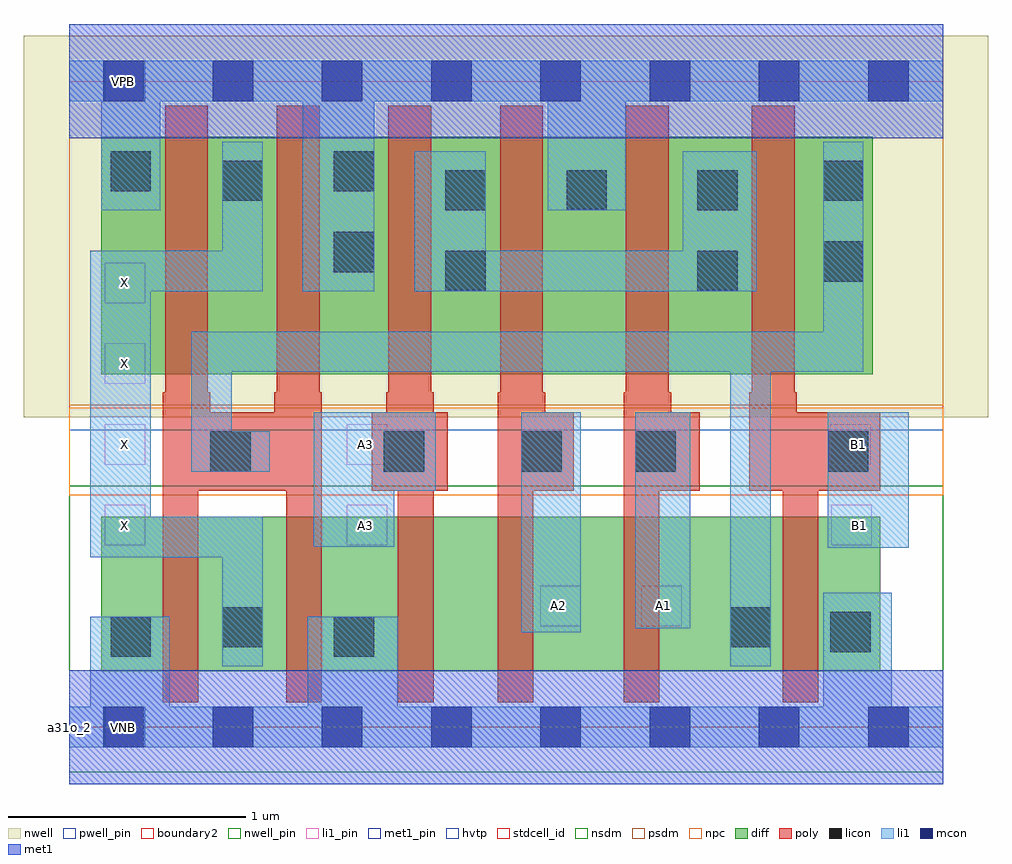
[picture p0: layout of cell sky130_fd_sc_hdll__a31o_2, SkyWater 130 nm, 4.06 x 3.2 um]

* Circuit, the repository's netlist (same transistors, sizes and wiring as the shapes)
* Copyright 2020 The SkyWater PDK Authors
*
* Licensed under the Apache License, Version 2.0 (the "License");
* you may not use this file except in compliance with the License.
* You may obtain a copy of the License at
*
*     https://www.apache.org/licenses/LICENSE-2.0
*
* Unless required by applicable law or agreed to in writing, software
* distributed under the License is distributed on an "AS IS" BASIS,
* WITHOUT WARRANTIES OR CONDITIONS OF ANY KIND, either express or implied.
* See the License for the specific language governing permissions and
* limitations under the License.
*
* SPDX-License-Identifier: Apache-2.0

.SUBCKT sky130_fd_sc_hdll__a31o_2 A1 A2 A3 B1 VGND VNB VPB VPWR X
*.PININFO A1:I A2:I A3:I B1:I VGND:I VNB:I VPB:I VPWR:I X:O
MMPA0 pndA A1 VPWR VPB sky130_fd_pr__pfet_01v8_hvt m=1 w=1.0U l=0.18U mult=1 sa=0.265
+ sb=0.265 sd=0.28 area=0.063 perim=1.14
MMPA1 pndA A2 VPWR VPB sky130_fd_pr__pfet_01v8_hvt m=1 w=1.0U l=0.18U mult=1 sa=0.265
+ sb=0.265 sd=0.28 area=0.063 perim=1.14
MMPA2 pndA A3 VPWR VPB sky130_fd_pr__pfet_01v8_hvt m=1 w=1.0U l=0.18U mult=1 sa=0.265
+ sb=0.265 sd=0.28 area=0.063 perim=1.14
MMPB0 y B1 pndA VPB sky130_fd_pr__pfet_01v8_hvt m=1 w=1.0U l=0.18U mult=1 sa=0.265
+ sb=0.265 sd=0.28 area=0.063 perim=1.14
MMIPX X y VPWR VPB sky130_fd_pr__pfet_01v8_hvt m=2 w=1.0U l=0.18U mult=1 sa=0.265
+ sb=0.265 sd=0.28 area=0.063 perim=1.14
MMNA0 y A1 sndA1 VNB sky130_fd_pr__nfet_01v8 m=1 w=0.65U l=0.15U mult=1 sa=0.265
+ sb=0.265 sd=0.28 area=0.063 perim=1.14
MMNA1 sndA1 A2 sndA2 VNB sky130_fd_pr__nfet_01v8 m=1 w=0.65U l=0.15U mult=1 sa=0.265
+ sb=0.265 sd=0.28 area=0.063 perim=1.14
MMNA2 sndA2 A3 VGND VNB sky130_fd_pr__nfet_01v8 m=1 w=0.65U l=0.15U mult=1 sa=0.265
+ sb=0.265 sd=0.28 area=0.063 perim=1.14
MMNB0 y B1 VGND VNB sky130_fd_pr__nfet_01v8 m=1 w=0.65U l=0.15U mult=1 sa=0.265
+ sb=0.265 sd=0.28 area=0.063 perim=1.14
MMINX X y VGND VNB sky130_fd_pr__nfet_01v8 m=2 w=0.65U l=0.15U mult=1 sa=0.265
+ sb=0.265 sd=0.28 area=0.063 perim=1.14
.ENDS sky130_fd_sc_hdll__a31o_2

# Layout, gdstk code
import gdstk
lib = gdstk.Library(unit=1e-6, precision=1e-09)
def R(c, l, rs):  # rectangles x0, y0, x1, y1
    for r in rs: c.add(gdstk.rectangle(r[:2], r[2:], *l))
def A(c, l, x, y, w, h, nx, ny, dx, dy):  # array of equal rectangles
    R(c, l, [(x+i*dx, y+j*dy, x+i*dx+w, y+j*dy+h) for i in range(nx) for j in range(ny)])
def P(c, l, *ps):  # polygons
    for p in ps: c.add(gdstk.Polygon(p, *l))
nwell_pin = (64, 16)
nwell = (64, 20)
diff = (65, 20)
poly = (66, 20)
licon = (66, 44)
li1_pin = (67, 16)
li1 = (67, 20)
mcon = (67, 44)
met1_pin = (68, 16)
met1 = (68, 20)
hvtp = (78, 44)
stdcell_id = (81, 4)
nsdm = (93, 44)
psdm = (94, 20)
npc = (95, 20)
pwell_pin = (122, 16)
boundary2 = (236, 0)

sky130_fd_sc_hdll__a31o_ = lib.new_cell('sky130_fd_sc_hdll__a31o_2')
R(sky130_fd_sc_hdll__a31o_, nwell_pin, [(0.15,2.635,0.32,2.805)])
R(sky130_fd_sc_hdll__a31o_, nwell, [(-0.19,1.305,3.87,2.91)])
R(sky130_fd_sc_hdll__a31o_, diff, [(0.135,0.235,3.415,0.885), (0.135,1.485,3.385,2.485)])
P(sky130_fd_sc_hdll__a31o_, poly, [(1.065,1.41),(1.055,1.41),(1.055,2.615),(0.875,2.615),(0.875,1.41),(0.865,1.41),(0.865,1.325),(0.595,1.325),(0.595,1.41),(0.585,1.41),(0.585,2.615),(0.405,2.615),(0.405,1.41),(0.395,1.41),(0.395,0.105),(0.545,0.105),(0.545,0.995),(0.915,0.995),(0.915,0.105),(1.065,0.105)],
  [(1.595,1.325),(1.535,1.325),(1.535,1.41),(1.525,1.41),(1.525,2.615),(1.345,2.615),(1.345,1.41),(1.335,1.41),(1.335,1.325),(1.275,1.325),(1.275,0.995),(1.385,0.995),(1.385,0.105),(1.535,0.105),(1.535,0.995),(1.595,0.995)],
  [(2.125,1.325),(2.005,1.325),(2.005,1.41),(1.995,1.41),(1.995,2.615),(1.815,2.615),(1.815,1.41),(1.805,1.41),(1.805,0.105),(1.955,0.105),(1.955,0.995),(2.125,0.995)],
  [(2.655,1.325),(2.535,1.325),(2.535,1.41),(2.525,1.41),(2.525,2.615),(2.345,2.615),(2.345,1.41),(2.335,1.41),(2.335,0.105),(2.485,0.105),(2.485,0.995),(2.655,0.995)],
  [(3.415,1.325),(3.065,1.325),(3.065,1.41),(3.055,1.41),(3.055,2.615),(2.875,2.615),(2.875,1.41),(2.865,1.41),(2.865,0.995),(3.005,0.995),(3.005,0.105),(3.155,0.105),(3.155,0.995),(3.415,0.995)])
R(sky130_fd_sc_hdll__a31o_, licon, [(0.175,0.295,0.345,0.465), (1.115,0.295,1.285,0.465), (3.205,0.315,3.375,0.485), (0.645,0.335,0.815,0.505), (2.785,0.335,2.955,0.505), (0.595,1.075,0.765,1.245), (1.325,1.075,1.495,1.245), (1.905,1.075,2.075,1.245), (2.385,1.075,2.555,1.245), (3.195,1.075,3.365,1.245), (1.585,1.835,1.755,2.005), (2.645,1.835,2.815,2.005), (3.175,1.875,3.345,2.045), (1.115,1.915,1.285,2.085), (1.585,2.175,1.755,2.345), (2.095,2.175,2.265,2.345), (2.645,2.175,2.815,2.345), (0.645,2.215,0.815,2.385), (3.175,2.215,3.345,2.385), (0.175,2.255,0.345,2.425), (1.115,2.255,1.285,2.425)])
A(sky130_fd_sc_hdll__a31o_, li1_pin, 0.15, 0.765, 0.17, 0.17, 1, 4, 0, 0.34)
R(sky130_fd_sc_hdll__a31o_, li1_pin, [(1.985,0.425,2.155,0.595), (2.41,0.425,2.58,0.595), (1.17,0.765,1.34,0.935), (3.21,0.765,3.38,0.935), (1.17,1.105,1.34,1.275), (3.205,1.105,3.375,1.275)])
R(sky130_fd_sc_hdll__a31o_, li1, [(1.905,0.4,2.155,1.325), (2.385,0.415,2.615,1.325), (3.195,0.755,3.535,1.325)])
P(sky130_fd_sc_hdll__a31o_, li1, [(1.545,1.325),(1.03,1.325),(1.03,0.76),(1.37,0.76),(1.37,0.995),(1.545,0.995)],
  [(3.68,0.085),(3.465,0.085),(3.465,0.565),(3.175,0.565),(3.175,0.085),(1.385,0.085),(1.385,0.465),(1.005,0.465),(1.005,0.085),(0.425,0.085),(0.425,0.465),(0.09,0.465),(0.09,0.085),(0,0.085),(0,-0.085),(3.68,-0.085)],
  [(3.68,2.805),(0,2.805),(0,2.635),(0.135,2.635),(0.135,2.175),(0.385,2.175),(0.385,2.635),(0.985,2.635),(0.985,1.835),(1.285,1.835),(1.285,2.635),(2.015,2.635),(2.015,2.175),(2.345,2.175),(2.345,2.635),(3.68,2.635)],
  [(0.815,0.885),(0.345,0.885),(0.345,1.835),(0.815,1.835),(0.815,2.465),(0.645,2.465),(0.645,2.005),(0.09,2.005),(0.09,0.715),(0.645,0.715),(0.645,0.255),(0.815,0.255)],
  [(3.345,2.465),(3.175,2.465),(3.175,1.665),(0.515,1.665),(0.515,1.075),(0.845,1.075),(0.845,1.245),(0.685,1.245),(0.685,1.495),(2.785,1.495),(2.785,0.255),(2.955,0.255),(2.955,1.495),(3.345,1.495)],
  [(2.895,2.425),(2.585,2.425),(2.585,2.005),(1.755,2.005),(1.755,2.425),(1.455,2.425),(1.455,1.835),(2.895,1.835)])
A(sky130_fd_sc_hdll__a31o_, mcon, 0.145, -0.085, 0.17, 0.17, 8, 2, 0.46, 2.72)
R(sky130_fd_sc_hdll__a31o_, met1_pin, [(0.15,-0.085,0.32,0.085), (0.15,2.635,0.32,2.805)])
R(sky130_fd_sc_hdll__a31o_, met1, [(0,-0.24,3.68,0.24), (0,2.48,3.68,2.96)])
R(sky130_fd_sc_hdll__a31o_, hvtp, [(0,1.25,3.68,2.72)])
R(sky130_fd_sc_hdll__a31o_, stdcell_id, [(0,0,3.68,2.72)])
R(sky130_fd_sc_hdll__a31o_, nsdm, [(0,-0.19,3.68,1.015)])
R(sky130_fd_sc_hdll__a31o_, psdm, [(0,1.355,3.68,2.91)])
R(sky130_fd_sc_hdll__a31o_, npc, [(0,0.975,3.68,1.345)])
R(sky130_fd_sc_hdll__a31o_, pwell_pin, [(0.15,-0.085,0.32,0.085)])
R(sky130_fd_sc_hdll__a31o_, boundary2, [(0,0,3.68,2.72)])
sky130_fd_sc_hdll__a31o_.add(gdstk.Label('X', (0.235,0.85), layer=67, texttype=5))
sky130_fd_sc_hdll__a31o_.add(gdstk.Label('B1', (3.325,1.19), layer=67, texttype=5))
sky130_fd_sc_hdll__a31o_.add(gdstk.Label('X', (0.235,1.19), layer=67, texttype=5))
sky130_fd_sc_hdll__a31o_.add(gdstk.Label('X', (0.235,1.53), layer=67, texttype=5))
sky130_fd_sc_hdll__a31o_.add(gdstk.Label('X', (0.235,1.87), layer=67, texttype=5))
sky130_fd_sc_hdll__a31o_.add(gdstk.Label('A3', (1.25,0.85), layer=67, texttype=5))
sky130_fd_sc_hdll__a31o_.add(gdstk.Label('A1', (2.505,0.51), layer=67, texttype=5))
sky130_fd_sc_hdll__a31o_.add(gdstk.Label('B1', (3.33,0.85), layer=67, texttype=5))
sky130_fd_sc_hdll__a31o_.add(gdstk.Label('A3', (1.25,1.19), layer=67, texttype=5))
sky130_fd_sc_hdll__a31o_.add(gdstk.Label('A2', (2.06,0.51), layer=67, texttype=5))
sky130_fd_sc_hdll__a31o_.add(gdstk.Label('VNB', (0.23,0), layer=64, texttype=59))
sky130_fd_sc_hdll__a31o_.add(gdstk.Label('VPB', (0.23,2.72), layer=64, texttype=5))
sky130_fd_sc_hdll__a31o_.add(gdstk.Label('VGND', (0.23,0), layer=68, texttype=5))
sky130_fd_sc_hdll__a31o_.add(gdstk.Label('VPWR', (0.23,2.72), layer=68, texttype=5))
sky130_fd_sc_hdll__a31o_.add(gdstk.Label('a31o_2', (0,0), layer=83, texttype=44))

lib.write_gds('sky130_fd_sc_hdll__a31o_2.gds')
